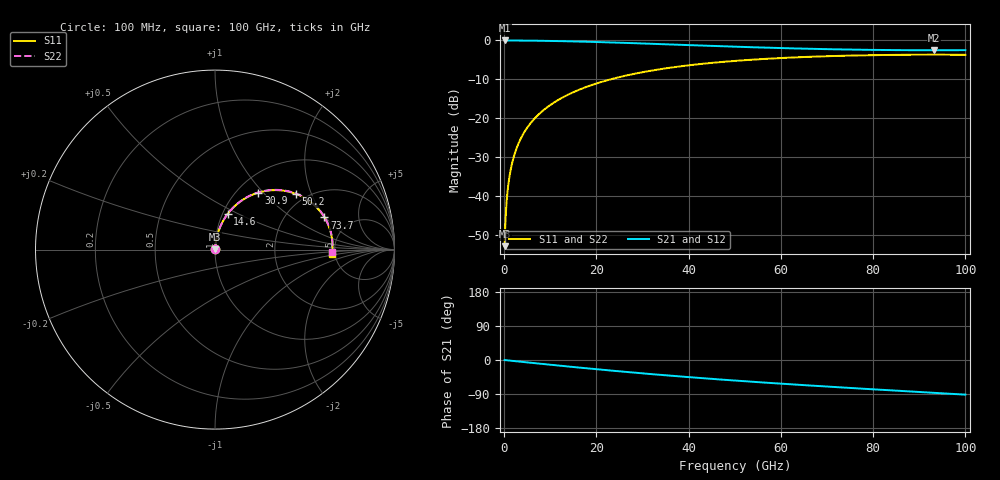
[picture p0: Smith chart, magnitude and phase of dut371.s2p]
! Touchstone file exported from HFSS 2026.1.0
!  File:  C:/ffzhzh/LocalFiles/Ansys_Project_Files/temp_train_RDL_371_1783503542_55944.aedt
!  Generated:  05:40:16 PM Jul  8, 2026
!  Design:  RDL
!  Project:  temp_train_RDL_371_1783503542_55944
! Variables:
!  h_bsmrdl = 2um
!  h_ox = 20um
!  h_rdl = 5um
!  h_sub = 80um
!  h_tmrdl = 3.73um
!  h_tsv = 80um
!  h_via = 3um
!  l_bsmrdl = 300um
!  l_sub = 684.19um
!  l_tmrdl = 284.19um
!  m_sub = 200um
!  pitch = 57.22um
!  r_tsv = 6um
!  s_tmrdl = 10um
!  w_bsmrdl = 18um
!  w_sub = 500um
!  w_tmrdl = 18.76um
!  x_tsv_center1 = 293.57um
!  x_tsv_center2 = 611.57um
!  x_tsv_center3 = 914.52um
!  x_tsv_center4 = 1232.52um
!  x_tsv_center5 = 1535.47um
!  x_tsv_center6 = 1853.47um
# GHz S MA R 50.000000
! Terminal data exported
! Port[1] = TM_RDL1_1_T1
! Port[2] = TM_RDL1_1_T2
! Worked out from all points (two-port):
!   1000 points, 100 MHz to 100 GHz, reference 50 ohm
!   highest |S21| = -0.01 dB at 100 MHz (marker M1); lowest = -2.5 dB at 93.1 GHz (marker M2)
!   |S21| within 3 dB of the highest: start of sweep to end of sweep
!   lowest |S11| = -52.8 dB at 100 MHz (marker M3), VSWR 1.00, Z = 50.2 + j0.162 ohm
!   |S11| at or under -10 dB: start of sweep to 23.07 GHz
!   |S22| runs from -52.8 to -3.7 dB; largest |S21 - S12| = 5.3e-15
!   S11 on the Smith chart (normalised r, x): 100 MHz: 1.00, +0.00; 14.6 GHz: 1.06, +0.44; 30.9 GHz: 1.24, +0.94; 50.2 GHz: 1.75, +1.56; 73.7 GHz: 3.23, +1.94; 100 GHz: 4.73, -0.39
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0.1  0.002281 45.0  0.9984 -0.1  0.9984 -0.1  0.002281 45.0
! Gamma 0 0 0 0
! Port Impedance 50 0 50 0
0.8  0.01253 80.2  0.998 -1.0  0.998 -1.0  0.01253 80.2
1  0.01555 81.5  0.9979 -1.3  0.9979 -1.3  0.01555 81.5
1.3  0.02009 82.6  0.9978 -1.7  0.9978 -1.7  0.02009 82.6
1.7  0.02615 83.3  0.9976 -2.2  0.9976 -2.2  0.02615 83.3
2.2  0.03374 83.5  0.9973 -2.8  0.9973 -2.8  0.03374 83.5
3.5  0.05336 82.8  0.9961 -4.5  0.9961 -4.5  0.05336 82.9
5.4  0.08166 81.0  0.9936 -6.8  0.9936 -6.8  0.08166 81.0
7.8  0.1166 78.3  0.9893 -9.8  0.9893 -9.8  0.1166 78.3
10.9  0.1605 74.7  0.9823 -13.6  0.9823 -13.6  0.1605 74.7
14.6  0.2109 70.4  0.972 -18.0  0.972 -18.0  0.2109 70.5
16.8  0.2396 67.9  0.965 -20.6  0.965 -20.6  0.2396 68.0
23.2  0.3177 60.8  0.9416 -27.9  0.9416 -27.9  0.3177 61.0
30.9  0.3995 52.7  0.9095 -36.2  0.9095 -36.2  0.3995 52.9
33.4  0.4231 50.2  0.8987 -38.7  0.8987 -38.7  0.4231 50.4
50.1  0.5459 34.8  0.8301 -54.3  0.8301 -54.3  0.5459 35.1
50.2  0.5465 34.7  0.8298 -54.4  0.8298 -54.4  0.5465 35.0
66.7  0.6173 21.5  0.7791 -67.6  0.7791 -67.6  0.6173 22.0
73.7  0.6355 16.4  0.7646 -72.8  0.7646 -72.8  0.6355 16.9
83.4  0.6508 9.5  0.7517 -79.8  0.7517 -79.8  0.6508 10.0
93.1  0.6556 2.7  0.7474 -86.6  0.7474 -86.6  0.6556 3.4
100  0.6527 -2.1  0.7496 -91.4  0.7496 -91.4  0.6527 -1.4
